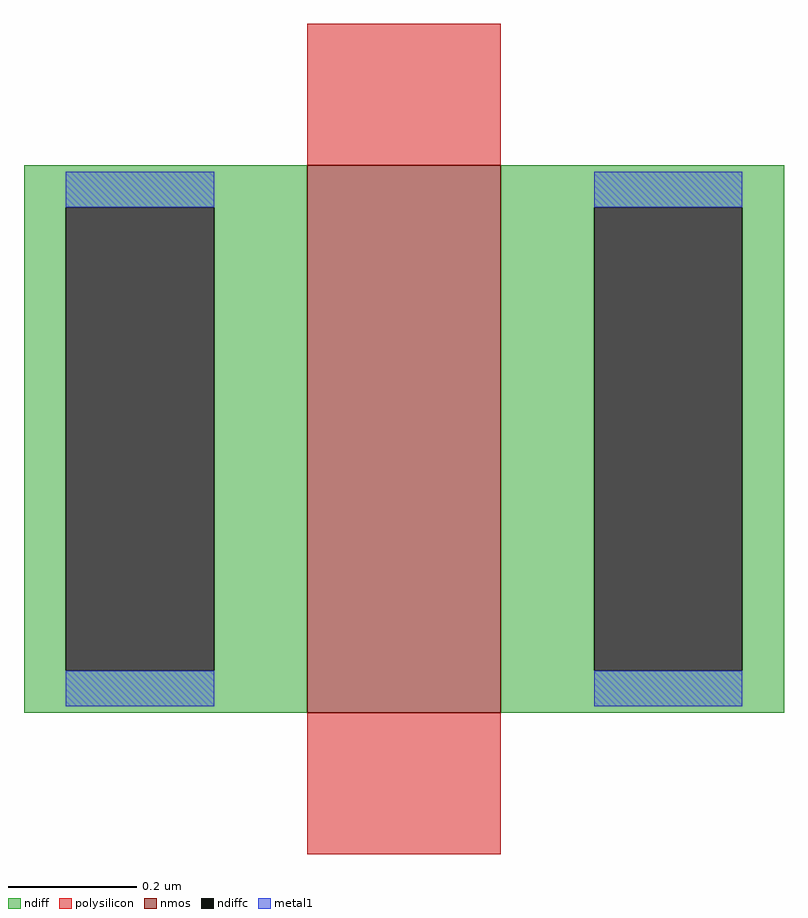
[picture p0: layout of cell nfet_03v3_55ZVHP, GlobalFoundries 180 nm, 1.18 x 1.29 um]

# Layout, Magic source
magic
tech gf180mcuD
magscale 1 10
<< nmos >>
rect -30 -85 30 85
<< ndiff >>
rect -118 72 -30 85
rect -118 -72 -105 72
rect -59 -72 -30 72
rect -118 -85 -30 -72
rect 30 72 118 85
rect 30 -72 59 72
rect 105 -72 118 72
rect 30 -85 118 -72
<< ndiffc >>
rect -105 -72 -59 72
rect 59 -72 105 72
<< polysilicon >>
rect -30 85 30 129
rect -30 -129 30 -85
<< metal1 >>
rect -105 72 -59 83
rect -105 -83 -59 -72
rect 59 72 105 83
rect 59 -83 105 -72
<< properties >>
string gencell nfet_03v3
string library gf180mcu
string parameters w 0.85 l 0.3 m 1 nf 1 diffcov 100 polycov 100 guard 0 glc 1 grc 1 gtc 0 gbc 0 tbcov 100 rlcov 100 topc 0 botc 0 poverlap 0 doverlap 1 lmin 0.28 wmin 0.22 class mosfet full_metal 0 compatible {nfet_03v3 nfet_06v0 nfet_06v0_nvt}
<< end >>
